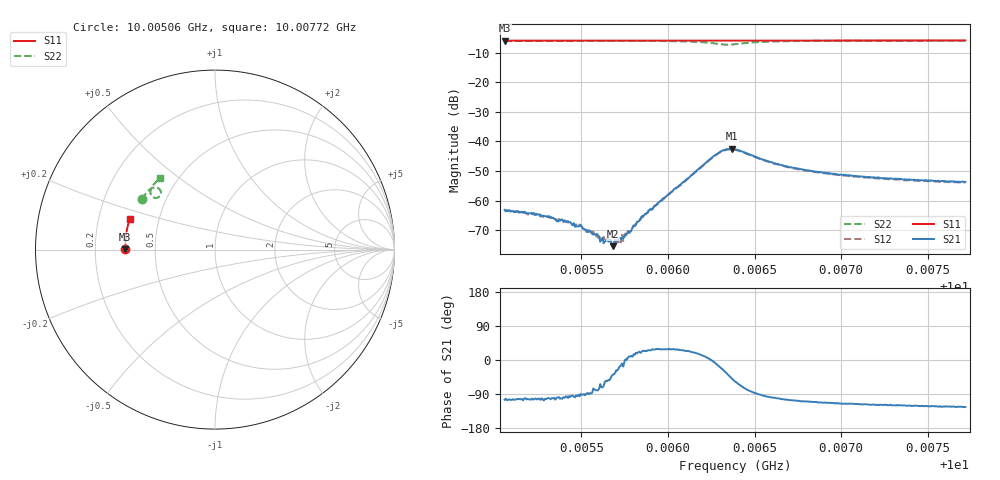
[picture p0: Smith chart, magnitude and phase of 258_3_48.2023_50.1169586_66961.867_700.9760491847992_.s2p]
#  HZ  S  RI  R  50.00
! Rohde & Schwarz Vector Network Analyzer
! Rohde-Schwarz,ZNB20-2Port,1311601062101988,3.16
! Created: UTC 3/20/2024, 11:47:39 AM
! freq[Hz]  re:S11  im:S11  re:S21  im:S21  re:S12  im:S12  re:S22  im:S22
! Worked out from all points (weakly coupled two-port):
!   401 points, 10.00506 GHz to 10.00772 GHz, reference 50 ohm
!   highest |S21| = -42.52 dB at 10.00637 GHz (marker M1); lowest = -75.4 dB at 10.00568 GHz (marker M2)
!   lowest |S11| = -6.0 dB at 10.00506 GHz (marker M3), VSWR 3.00, Z = 16.7 + j0.058 ohm
!   |S11| at or under -10 dB: nowhere
!   |S22| runs from -7.4 to -6.0 dB; largest |S21 - S12| = 0.00043
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1.0005056e10  -0.4997 0.0013  -0.000181 -0.000677  -0.000107 -0.000658  -0.4072 0.2812
1.0005309e10  -0.5 0.0177  -9.9e-05 -0.000539  -6.57e-05 -0.000528  -0.3975 0.2961
1.0005362e10  -0.4999 0.0213  -6.89e-05 -0.000439  -6.19e-05 -0.000466  -0.3952 0.2994
1.0005422e10  -0.4999 0.0252  -8.01e-05 -0.000439  -3.13e-05 -0.000435  -0.3927 0.3029
1.0005502e10  -0.4997 0.0303  -1.11e-05 -0.000359  7.92e-06 -0.000361  -0.389 0.3078
1.0005588e10  -0.4995 0.0359  4.62e-05 -0.00027  9.04e-05 -0.000239  -0.3849 0.3131
1.0005622e10  -0.4994 0.0381  7.1e-05 -0.000221  8.27e-05 -0.000204  -0.3832 0.3152
1.0005655e10  -0.4993 0.0403  0.000123 -0.000162  0.000144 -0.00018  -0.3814 0.3172
1.0005668e10  -0.4993 0.0411  0.000148 -0.000164  0.000158 -0.000124  -0.3808 0.318
1.0005682e10  -0.4993 0.042  0.000133 -0.000106  0.00014 -0.000111  -0.3801 0.3189
1.0005728e10  -0.499 0.0449  0.000217 -5.49e-05  0.000187 -6.03e-05  -0.3775 0.3218
1.0005775e10  -0.4989 0.048  0.000299 4.91e-05  0.000277 4.52e-05  -0.3746 0.3248
1.0005848e10  -0.4985 0.0527  0.000503 0.000199  0.000464 0.000231  -0.3698 0.3295
1.0005948e10  -0.4979 0.0592  0.00081 0.000459  0.000818 0.000457  -0.3619 0.3363
1.0006267e10  -0.4952 0.0797  0.0057 -0.000578  0.00558 -0.000333  -0.3049 0.3308
1.000632e10  -0.4947 0.0829  0.00632 -0.00322  0.00633 -0.00287  -0.3029 0.3069
1.0006367e10  -0.4943 0.0855  0.00499 -0.00558  0.00518 -0.0052  -0.3186 0.2901
1.0006387e10  -0.4942 0.0869  0.00406 -0.00609  0.00428 -0.00578  -0.3277 0.288
1.0006613e10  -0.4926 0.1013  -0.000701 -0.00423  -0.000532 -0.00418  -0.3596 0.3274
1.0006833e10  -0.4899 0.1154  -0.00111 -0.00296  -0.000976 -0.00293  -0.3502 0.3505
1.0007279e10  -0.4834 0.1432  -0.00115 -0.00206  -0.00101 -0.00206  -0.3277 0.3785
1.0007718e10  -0.4754 0.1705  -0.00116 -0.00171  -0.00107 -0.00172  -0.3052 0.3997
